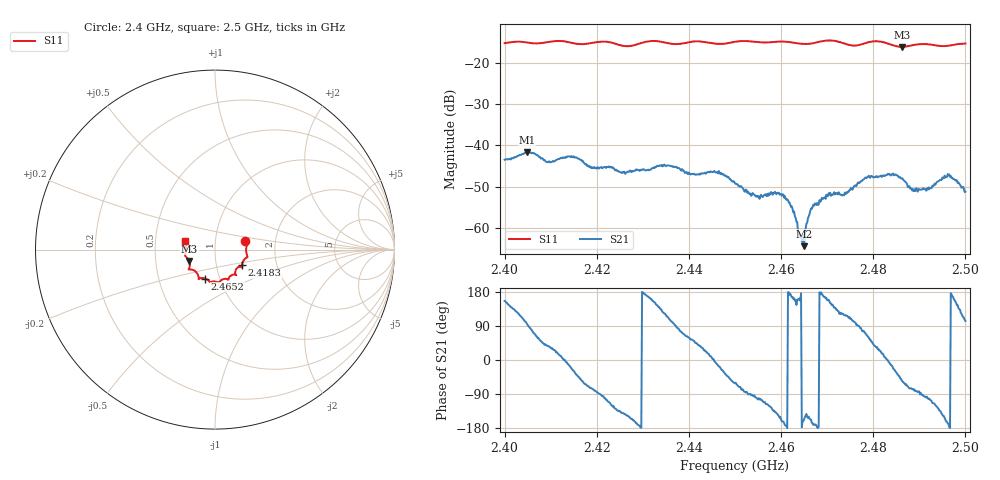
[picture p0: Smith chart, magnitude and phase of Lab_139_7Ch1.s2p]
# Hz S RI R 50
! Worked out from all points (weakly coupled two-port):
!   601 points, 2.4 GHz to 2.5 GHz, reference 50 ohm
!   highest |S21| = -41.69 dB at 2.4048 GHz (marker M1); lowest = -64.5 dB at 2.465 GHz (marker M2)
!   lowest |S11| = -16.1 dB at 2.4862 GHz (marker M3), VSWR 1.37, Z = 37.2 - j4.87 ohm
!   |S11| at or under -10 dB: start of sweep to end of sweep
!   S12 and S22 are empty: the file has one direction only
!   S11 on the Smith chart (normalised r, x): 2.4 GHz: 1.40, +0.14; 2.4183 GHz: 1.33, -0.24; 2.4652 GHz: 0.85, -0.28; 2.5 GHz: 0.71, +0.07
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2.4e9  0.1679 0.0471  -0.0061 0.00275  0 0  0 0
2.404833e9  0.1767 0.0201  -0.000783 0.0082  0 0  0 0
2.4095e9  0.1776 -0.0304  0.00501 0.00375  0 0  0 0
2.416667e9  0.1553 -0.068  0.00391 -0.0054  0 0  0 0
2.418333e9  0.1503 -0.0863  0.00177 -0.00521  0 0  0 0
2.425833e9  0.1272 -0.0991  -0.00363 -0.00295  0 0  0 0
2.433333e9  0.1172 -0.1412  -0.00432 0.00357  0 0  0 0
2.446e9  0.054 -0.1626  0.00461 -0.00077  0 0  0 0
2.45e9  0.0258 -0.1794  0.00168 -0.00302  0 0  0 0
2.454833e9  0.00893 -0.1795  -0.000497 -0.00231  0 0  0 0
2.460333e9  -0.0275 -0.1803  -0.00242 -0.000779  0 0  0 0
2.462333e9  -0.033 -0.175  -0.00176 0.000447  0 0  0 0
2.464167e9  -0.0444 -0.1662  -0.000705 0.000311  0 0  0 0
2.465e9  -0.0526 -0.1621  -0.000546 -0.000243  0 0  0 0
2.465167e9  -0.0545 -0.1615  -0.000806 -0.000434  0 0  0 0
2.466667e9  -0.0709 -0.1579  -0.00164 -0.000422  0 0  0 0
2.478667e9  -0.1383 -0.1105  0.00177 0.00369  0 0  0 0
2.483333e9  -0.1417 -0.0968  0.00443 -0.000398  0 0  0 0
2.486167e9  -0.1435 -0.0638  0.00237 -0.00319  0 0  0 0
2.489167e9  -0.1623 -0.0394  0.000461 -0.00275  0 0  0 0
2.496667e9  -0.1618 0.0228  -0.00416 -1.67e-05  0 0  0 0
2.5e9  -0.1659 0.0475  -0.000618 0.00267  0 0  0 0
